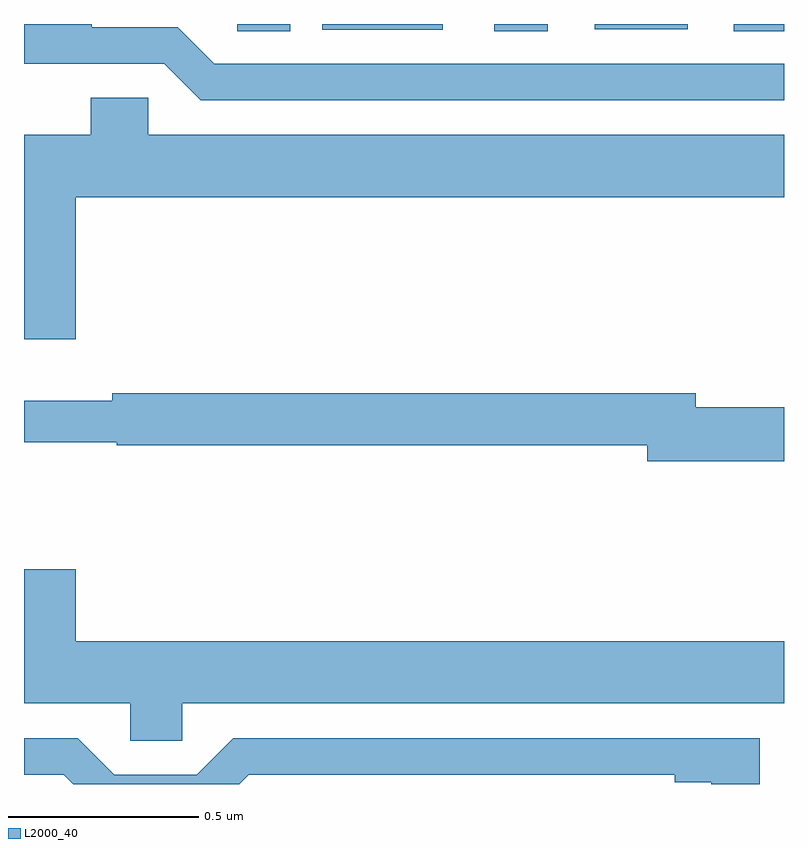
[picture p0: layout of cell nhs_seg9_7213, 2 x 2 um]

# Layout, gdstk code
import gdstk
lib = gdstk.Library(unit=1e-6, precision=1e-09)
def R(c, l, rs):  # rectangles x0, y0, x1, y1
    for r in rs: c.add(gdstk.rectangle(r[:2], r[2:], *l))
def P(c, l, *ps):  # polygons
    for p in ps: c.add(gdstk.Polygon(p, *l))
L2000_40 = (2000, 40)

nhs_seg9_7213 = lib.new_cell('nhs_seg9_7213')
R(nhs_seg9_7213, L2000_40, [(201.561,1239.481,201.7,1239.5), (202.238,1239.481,202.378,1239.5), (202.868,1239.481,203,1239.5), (201.785,1239.485,202.102,1239.5), (202.502,1239.486,202.747,1239.5)])
P(nhs_seg9_7213, L2000_40, [(203,1239.396),(201.501,1239.396),(201.405,1239.492),(201.178,1239.492),(201.178,1239.5),(201,1239.5),(201,1239.396),(201.369,1239.396),(201.465,1239.3),(203,1239.3)],
  [(201.136,1239.044),(203,1239.044),(203,1239.208),(201.327,1239.208),(201.327,1239.306),(201.176,1239.306),(201.176,1239.208),(201,1239.208),(201,1238.67),(201.136,1238.67)],
  [(203,1238.492),(202.768,1238.492),(202.768,1238.528),(201.232,1238.528),(201.232,1238.509),(201,1238.509),(201,1238.4),(201.244,1238.4),(201.244,1238.392),(202.64,1238.392),(202.64,1238.35),(203,1238.35)],
  [(201.417,1237.712),(203,1237.712),(203,1237.876),(201.136,1237.876),(201.136,1238.065),(201,1238.065),(201,1237.712),(201.279,1237.712),(201.279,1237.614),(201.417,1237.614)],
  [(201.591,1237.524),(202.712,1237.524),(202.712,1237.504),(202.808,1237.504),(202.808,1237.5),(202.936,1237.5),(202.936,1237.62),(201.551,1237.62),(201.455,1237.524),(201.237,1237.524),(201.141,1237.62),(201,1237.62),(201,1237.524),(201.105,1237.524),(201.129,1237.5),(201.567,1237.5)])

lib.write_gds('nhs_seg9_7213.gds')
